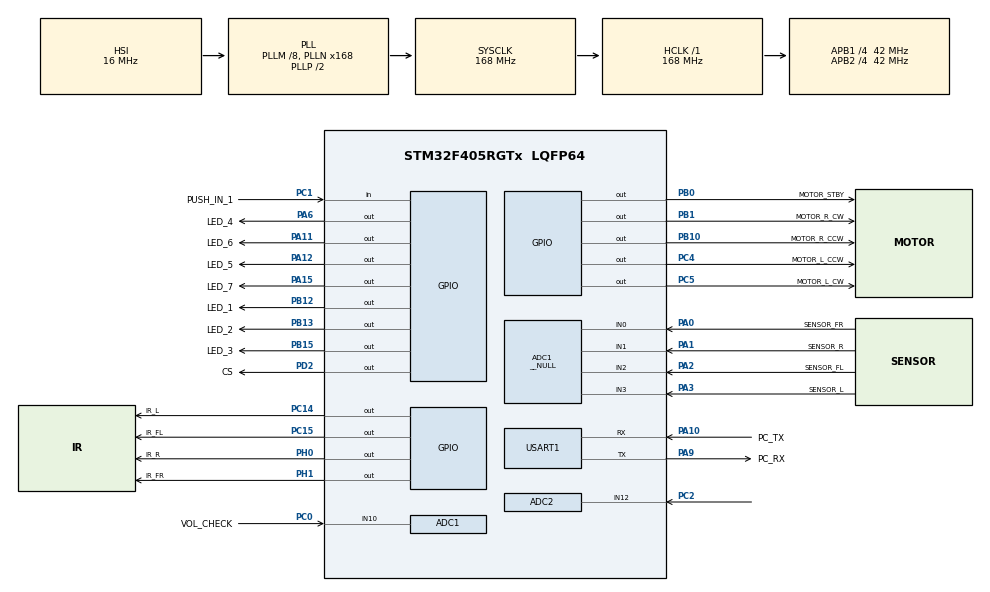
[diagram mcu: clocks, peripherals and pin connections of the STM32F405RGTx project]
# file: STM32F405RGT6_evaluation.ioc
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ADC1.Channel-0\#ChannelRegularConversion=ADC_CHANNEL_1
ADC1.Channel-5\#ChannelRegularConversion=ADC_CHANNEL_3
ADC1.Channel-6\#ChannelRegularConversion=ADC_CHANNEL_0
ADC1.Channel-7\#ChannelRegularConversion=ADC_CHANNEL_2
ADC1.Channel-8\#ChannelRegularConversion=ADC_CHANNEL_10
ADC1.ContinuousConvMode=DISABLE
ADC1.DiscontinuousConvMode=DISABLE
ADC1.EOCSelection=ADC_EOC_SINGLE_CONV
ADC1.EnableAnalogWatchDog=false
ADC1.ExternalTrigConv=ADC_SOFTWARE_START
ADC1.InjNumberOfConversion=0
ADC1.Mode=__NULL
ADC1.NbrOfConversion=5
ADC1.NbrOfConversionFlag=1
ADC1.Rank-0\#ChannelRegularConversion=1
ADC1.Rank-5\#ChannelRegularConversion=2
ADC1.Rank-6\#ChannelRegularConversion=3
ADC1.Rank-7\#ChannelRegularConversion=4
ADC1.Rank-8\#ChannelRegularConversion=5
ADC1.SamplingTime-0\#ChannelRegularConversion=ADC_SAMPLETIME_15CYCLES
ADC1.SamplingTime-5\#ChannelRegularConversion=ADC_SAMPLETIME_15CYCLES
ADC1.SamplingTime-6\#ChannelRegularConversion=ADC_SAMPLETIME_15CYCLES
ADC1.SamplingTime-7\#ChannelRegularConversion=ADC_SAMPLETIME_15CYCLES
ADC1.SamplingTime-8\#ChannelRegularConversion=ADC_SAMPLETIME_15CYCLES
ADC1.ScanConvMode=ENABLE
ADC1.master=1
ADC2.Channel-0\#ChannelRegularConversion=ADC_CHANNEL_12
ADC2.NbrOfConversionFlag=1
ADC2.Rank-0\#ChannelRegularConversion=1
ADC2.SamplingTime-0\#ChannelRegularConversion=ADC_SAMPLETIME_3CYCLES
Mcu.Family=STM32F4
Mcu.Name=STM32F405RGTx
Mcu.Package=LQFP64
NVIC.PriorityGroup=NVIC_PRIORITYGROUP_4
PA0-WKUP.GPIO_Label=SENSOR_FR
PA0-WKUP.Signal=ADCx_IN0
PA1.GPIO_Label=SENSOR_R
PA1.Signal=ADCx_IN1
PA10.GPIO_Label=PC_TX
PA10.Mode=Asynchronous
PA10.Signal=USART1_RX
PA11.GPIO_Label=LED_6
PA11.Signal=GPIO_Output
PA12.GPIO_Label=LED_5
PA12.Signal=GPIO_Output
PA13.GPIO_Label=SWDIO
PA13.Signal=SYS_JTMS-SWDIO
PA14.GPIO_Label=SWCL
PA14.Signal=SYS_JTCK-SWCLK
PA15.GPIO_Label=LED_7
PA15.Signal=GPIO_Output
PA2.GPIO_Label=SENSOR_FL
PA2.Signal=ADCx_IN2
PA3.GPIO_Label=SENSOR_L
PA3.Signal=ADCx_IN3
PA5.GPIO_Label=MOTOR_L_PWM
PA5.Signal=S_TIM2_CH1_ETR
PA6.GPIO_Label=LED_4
PA6.Signal=GPIO_Output
PA7.Signal=SPI1_MOSI
PA8.GPIO_Label=SCL
PA8.Signal=I2C3_SCL
PA9.GPIO_Label=PC_RX
PA9.Mode=Asynchronous
PA9.Signal=USART1_TX
PB0.GPIO_Label=MOTOR_STBY
PB0.Signal=GPIO_Output
PB1.GPIO_Label=MOTOR_R_CW
PB1.Signal=GPIO_Output
PB10.GPIO_Label=MOTOR_R_CCW
PB10.Signal=GPIO_Output
PB11.GPIO_Label=MOTOR_R_PWM
PB11.Signal=S_TIM2_CH4
PB12.GPIO_Label=LED_1
PB12.Signal=GPIO_Output
PB13.GPIO_Label=LED_2
PB13.Signal=GPIO_Output
PB15.GPIO_Label=LED_3
PB15.Signal=GPIO_Output
PB3.Signal=SPI1_SCK
PB4.GPIO_Label=FAN
PB4.Signal=S_TIM3_CH1
PB5.GPIO_Label=BUZZER
PB5.Signal=S_TIM3_CH2
PB6.GPIO_Label=EC_L_A
PB6.Signal=S_TIM4_CH1
PB7.GPIO_Label=EC_L_B
PB7.Signal=S_TIM4_CH2
PC0.GPIO_Label=VOL_CHECK
PC0.Signal=ADCx_IN10
PC1.GPIO_Label=PUSH_IN_1
PC1.Signal=GPIO_Input
PC10.GPIO_Label=SCK
PC10.Signal=SPI3_SCK
PC11.GPIO_Label=MISO
PC11.Signal=SPI3_MISO
PC12.GPIO_Label=MOSI
PC12.Signal=SPI3_MOSI
PC14-OSC32_IN.GPIO_Label=IR_L
PC14-OSC32_IN.Signal=GPIO_Output
PC15-OSC32_OUT.GPIO_Label=IR_FL
PC15-OSC32_OUT.Signal=GPIO_Output
PC2.Signal=ADCx_IN12
PC4.GPIO_Label=MOTOR_L_CCW
PC4.Signal=GPIO_Output
PC5.GPIO_Label=MOTOR_L_CW
PC5.Signal=GPIO_Output
PC6.GPIO_Label=TIM8_CH1
PC6.Signal=S_TIM8_CH1
PC7.GPIO_Label=EC_R_8
PC7.Signal=S_TIM8_CH2
PC9.GPIO_Label=SDA
PC9.Signal=I2C3_SDA
PD2.GPIO_Label=CS
PD2.Signal=GPIO_Output
PH0-OSC_IN.GPIO_Label=IR_R
PH0-OSC_IN.Signal=GPIO_Output
PH1-OSC_OUT.GPIO_Label=IR_FR
PH1-OSC_OUT.Signal=GPIO_Output
ProjectManager.HeapSize=0x200
ProjectManager.StackSize=0x400
ProjectManager.TargetToolchain=STM32CubeIDE
RCC.48MHZClocksFreq_Value=84000000
RCC.AHBFreq_Value=168000000
RCC.APB1CLKDivider=RCC_HCLK_DIV4
RCC.APB1Freq_Value=42000000
RCC.APB1TimFreq_Value=84000000
RCC.APB2CLKDivider=RCC_HCLK_DIV4
RCC.APB2Freq_Value=42000000
RCC.APB2TimFreq_Value=84000000
RCC.CortexFreq_Value=168000000
RCC.HCLKFreq_Value=168000000
RCC.HSE_VALUE=25000000
RCC.HSI_VALUE=16000000
RCC.LSE_VALUE=32768
RCC.PLLM=8
RCC.PLLN=168
RCC.SYSCLKFreq_VALUE=168000000
RCC.SYSCLKSource=RCC_SYSCLKSOURCE_PLLCLK
RCC.VCOOutputFreq_Value=336000000
SH.ADCx_IN0.0=ADC1_IN0,IN0
SH.ADCx_IN1.0=ADC1_IN1,IN1
SH.ADCx_IN10.0=ADC1_IN10,IN10
SH.ADCx_IN12.0=ADC2_IN12,IN12
SH.ADCx_IN2.0=ADC1_IN2,IN2
SH.ADCx_IN3.0=ADC1_IN3,IN3
SH.S_TIM2_CH1_ETR.0=TIM2_CH1
SH.S_TIM2_CH4.0=TIM2_CH4
SH.S_TIM3_CH1.0=TIM3_CH1
SH.S_TIM3_CH2.0=TIM3_CH2
SH.S_TIM4_CH1.0=TIM4_CH1
SH.S_TIM4_CH2.0=TIM4_CH2
SH.S_TIM8_CH1.0=TIM8_CH1
SH.S_TIM8_CH2.0=TIM8_CH2
USART1.VirtualMode=VM_ASYNC
board=custom

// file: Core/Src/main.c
/* USER CODE BEGIN Header */
/**
  ******************************************************************************
  * @file           : main.c
  * @brief          : Main program body
  ******************************************************************************
  * @attention
  *
  * Copyright (c) 2024 STMicroelectronics.
  * All rights reserved.
  *
  * This software is licensed under terms that can be found in the LICENSE file
  * in the root directory of this software component.
  * If no LICENSE file comes with this software, it is provided AS-IS.
  *
  ******************************************************************************
  */
/* USER CODE END Header */
#include "main.h"

/* USER CODE BEGIN Includes */
#include <stdio.h>

/* USER CODE END Includes */

ADC_HandleTypeDef hadc1;
ADC_HandleTypeDef hadc2;

UART_HandleTypeDef huart1;

/* USER CODE BEGIN PV */
#ifdef __GNUC__
#define PUTCHAR_PROTOTYPE int __io_putchar(int ch)
#else
#define PUTCHAR_PROTOTYPE int fputc(int ch, FILE *f)
#endif
/* USER CODE END PV */

void SystemClock_Config(void);
static void MX_GPIO_Init(void);
static void MX_ADC1_Init(void);
static void MX_ADC2_Init(void);
static void MX_USART1_UART_Init(void);
/* USER CODE BEGIN PFP */
void __io_putchar(int ch) { HAL_UART_Transmit(&huart1, &ch, 1, 1); }

int ReadAdcValue(ADC_HandleTypeDef *hadc){
	HAL_ADC_Start(hadc);//AD変換を開始する
	HAL_ADC_PollForConversion(hadc, 150);
	 return HAL_ADC_GetValue(hadc);
}
/* USER CODE END PFP */

int main(void)
{

  /* MCU Configuration--------------------------------------------------------*/

  /* Reset of all peripherals, Initializes the Flash interface and the Systick. */
  HAL_Init();

  /* Configure the system clock */
  SystemClock_Config();

  /* Initialize all configured peripherals */
  MX_GPIO_Init();
  MX_ADC1_Init();
  MX_ADC2_Init();
  MX_USART1_UART_Init();
  /* USER CODE BEGIN 2 */
int i = 0;
  /* USER CODE END 2 */

  /* Infinite loop */
  while (1)
  {

    /* USER CODE BEGIN 3 */
	  for (int i =0 ; i++ ; i < 1000){
	  uint32_t adc = 0;
	   adc = ReadAdcValue(&hadc1);
	   printf ("%u\n",adc);
	  }
	  break;

  }
  /* USER CODE END 3 */
}

void SystemClock_Config(void)
{
  RCC_OscInitTypeDef RCC_OscInitStruct = {0};
  RCC_ClkInitTypeDef RCC_ClkInitStruct = {0};

  /** Configure the main internal regulator output voltage
  */
  __HAL_RCC_PWR_CLK_ENABLE();
  __HAL_PWR_VOLTAGESCALING_CONFIG(PWR_REGULATOR_VOLTAGE_SCALE1);

  /** Initializes the RCC Oscillators according to the specified parameters
  * in the RCC_OscInitTypeDef structure.
  */
  RCC_OscInitStruct.OscillatorType = RCC_OSCILLATORTYPE_HSI;
  RCC_OscInitStruct.HSIState = RCC_HSI_ON;
  RCC_OscInitStruct.HSICalibrationValue = RCC_HSICALIBRATION_DEFAULT;
  RCC_OscInitStruct.PLL.PLLState = RCC_PLL_ON;
  RCC_OscInitStruct.PLL.PLLSource = RCC_PLLSOURCE_HSI;
  RCC_OscInitStruct.PLL.PLLM = 8;
  RCC_OscInitStruct.PLL.PLLN = 168;
  RCC_OscInitStruct.PLL.PLLP = RCC_PLLP_DIV2;
  RCC_OscInitStruct.PLL.PLLQ = 4;
  if (HAL_RCC_OscConfig(&RCC_OscInitStruct) != HAL_OK)
  {
    Error_Handler();
  }

  /** Initializes the CPU, AHB and APB buses clocks
  */
  RCC_ClkInitStruct.ClockType = RCC_CLOCKTYPE_HCLK|RCC_CLOCKTYPE_SYSCLK
                              |RCC_CLOCKTYPE_PCLK1|RCC_CLOCKTYPE_PCLK2;
  RCC_ClkInitStruct.SYSCLKSource = RCC_SYSCLKSOURCE_PLLCLK;
  RCC_ClkInitStruct.AHBCLKDivider = RCC_SYSCLK_DIV1;
  RCC_ClkInitStruct.APB1CLKDivider = RCC_HCLK_DIV4;
  RCC_ClkInitStruct.APB2CLKDivider = RCC_HCLK_DIV4;

  if (HAL_RCC_ClockConfig(&RCC_ClkInitStruct, FLASH_LATENCY_5) != HAL_OK)
  {
    Error_Handler();
  }
}

static void MX_ADC1_Init(void)
{

  ADC_ChannelConfTypeDef sConfig = {0};

  /** Configure the global features of the ADC (Clock, Resolution, Data Alignment and number of conversion)
  */
  hadc1.Instance = ADC1;
  hadc1.Init.ClockPrescaler = ADC_CLOCK_SYNC_PCLK_DIV2;
  hadc1.Init.Resolution = ADC_RESOLUTION_12B;
  hadc1.Init.ScanConvMode = ENABLE;
  hadc1.Init.ContinuousConvMode = DISABLE;
  hadc1.Init.DiscontinuousConvMode = DISABLE;
  hadc1.Init.ExternalTrigConvEdge = ADC_EXTERNALTRIGCONVEDGE_NONE;
  hadc1.Init.ExternalTrigConv = ADC_SOFTWARE_START;
  hadc1.Init.DataAlign = ADC_DATAALIGN_RIGHT;
  hadc1.Init.NbrOfConversion = 5;
  hadc1.Init.DMAContinuousRequests = DISABLE;
  hadc1.Init.EOCSelection = ADC_EOC_SINGLE_CONV;
  if (HAL_ADC_Init(&hadc1) != HAL_OK)
  {
    Error_Handler();
  }

  /** Configure for the selected ADC regular channel its corresponding rank in the sequencer and its sample time.
  */
  sConfig.Channel = ADC_CHANNEL_1;
  sConfig.Rank = 1;
  sConfig.SamplingTime = ADC_SAMPLETIME_15CYCLES;
  if (HAL_ADC_ConfigChannel(&hadc1, &sConfig) != HAL_OK)
  {
    Error_Handler();
  }

  /** Configure for the selected ADC regular channel its corresponding rank in the sequencer and its sample time.
  */
  sConfig.Channel = ADC_CHANNEL_3;
  sConfig.Rank = 2;
  if (HAL_ADC_ConfigChannel(&hadc1, &sConfig) != HAL_OK)
  {
    Error_Handler();
  }

  /** Configure for the selected ADC regular channel its corresponding rank in the sequencer and its sample time.
  */
  sConfig.Channel = ADC_CHANNEL_0;
  sConfig.Rank = 3;
  if (HAL_ADC_ConfigChannel(&hadc1, &sConfig) != HAL_OK)
  {
    Error_Handler();
  }

  /** Configure for the selected ADC regular channel its corresponding rank in the sequencer and its sample time.
  */
  sConfig.Channel = ADC_CHANNEL_2;
  sConfig.Rank = 4;
  if (HAL_ADC_ConfigChannel(&hadc1, &sConfig) != HAL_OK)
  {
    Error_Handler();
  }

  /** Configure for the selected ADC regular channel its corresponding rank in the sequencer and its sample time.
  */
  sConfig.Channel = ADC_CHANNEL_10;
  sConfig.Rank = 5;
  if (HAL_ADC_ConfigChannel(&hadc1, &sConfig) != HAL_OK)
  {
    Error_Handler();
  }

}

static void MX_ADC2_Init(void)
{

  ADC_ChannelConfTypeDef sConfig = {0};

  /** Configure the global features of the ADC (Clock, Resolution, Data Alignment and number of conversion)
  */
  hadc2.Instance = ADC2;
  hadc2.Init.ClockPrescaler = ADC_CLOCK_SYNC_PCLK_DIV2;
  hadc2.Init.Resolution = ADC_RESOLUTION_12B;
  hadc2.Init.ScanConvMode = DISABLE;
  hadc2.Init.ContinuousConvMode = DISABLE;
  hadc2.Init.DiscontinuousConvMode = DISABLE;
  hadc2.Init.ExternalTrigConvEdge = ADC_EXTERNALTRIGCONVEDGE_NONE;
  hadc2.Init.ExternalTrigConv = ADC_SOFTWARE_START;
  hadc2.Init.DataAlign = ADC_DATAALIGN_RIGHT;
  hadc2.Init.NbrOfConversion = 1;
  hadc2.Init.DMAContinuousRequests = DISABLE;
  hadc2.Init.EOCSelection = ADC_EOC_SINGLE_CONV;
  if (HAL_ADC_Init(&hadc2) != HAL_OK)
  {
    Error_Handler();
  }

  /** Configure for the selected ADC regular channel its corresponding rank in the sequencer and its sample time.
  */
  sConfig.Channel = ADC_CHANNEL_12;
  sConfig.Rank = 1;
  sConfig.SamplingTime = ADC_SAMPLETIME_3CYCLES;
  if (HAL_ADC_ConfigChannel(&hadc2, &sConfig) != HAL_OK)
  {
    Error_Handler();
  }

}

static void MX_USART1_UART_Init(void)
{

  huart1.Instance = USART1;
  huart1.Init.BaudRate = 115200;
  huart1.Init.WordLength = UART_WORDLENGTH_8B;
  huart1.Init.StopBits = UART_STOPBITS_1;
  huart1.Init.Parity = UART_PARITY_NONE;
  huart1.Init.Mode = UART_MODE_TX_RX;
  huart1.Init.HwFlowCtl = UART_HWCONTROL_NONE;
  huart1.Init.OverSampling = UART_OVERSAMPLING_16;
  if (HAL_UART_Init(&huart1) != HAL_OK)
  {
    Error_Handler();
  }

}

static void MX_GPIO_Init(void)
{
  GPIO_InitTypeDef GPIO_InitStruct = {0};

  /* GPIO Ports Clock Enable */
  __HAL_RCC_GPIOC_CLK_ENABLE();
  __HAL_RCC_GPIOH_CLK_ENABLE();
  __HAL_RCC_GPIOA_CLK_ENABLE();
  __HAL_RCC_GPIOB_CLK_ENABLE();
  __HAL_RCC_GPIOD_CLK_ENABLE();

  /*Configure GPIO pin Output Level */
  HAL_GPIO_WritePin(GPIOC, IR_L_Pin|IR_FL_Pin|MOTOR_L_CCW_Pin|MOTOR_L_CW_Pin, GPIO_PIN_RESET);

  /*Configure GPIO pin Output Level */
  HAL_GPIO_WritePin(GPIOH, IR_R_Pin|IR_FR_Pin, GPIO_PIN_RESET);

  /*Configure GPIO pin Output Level */
  HAL_GPIO_WritePin(GPIOA, LED_4_Pin|LED_6_Pin|LED_5_Pin|LED_7_Pin, GPIO_PIN_RESET);

  /*Configure GPIO pin Output Level */
  HAL_GPIO_WritePin(GPIOB, MOTOR_STBY_Pin|MOTOR_R_CW_Pin|MOTOR_R_CCW_Pin|LED_1_Pin
                          |LED_2_Pin|LED_3_Pin, GPIO_PIN_RESET);

  /*Configure GPIO pin Output Level */
  HAL_GPIO_WritePin(CS_GPIO_Port, CS_Pin, GPIO_PIN_RESET);

  /*Configure GPIO pins : IR_L_Pin IR_FL_Pin MOTOR_L_CCW_Pin MOTOR_L_CW_Pin */
  GPIO_InitStruct.Pin = IR_L_Pin|IR_FL_Pin|MOTOR_L_CCW_Pin|MOTOR_L_CW_Pin;
  GPIO_InitStruct.Mode = GPIO_MODE_OUTPUT_PP;
  GPIO_InitStruct.Pull = GPIO_NOPULL;
  GPIO_InitStruct.Speed = GPIO_SPEED_FREQ_LOW;
  HAL_GPIO_Init(GPIOC, &GPIO_InitStruct);

  /*Configure GPIO pins : IR_R_Pin IR_FR_Pin */
  GPIO_InitStruct.Pin = IR_R_Pin|IR_FR_Pin;
  GPIO_InitStruct.Mode = GPIO_MODE_OUTPUT_PP;
  GPIO_InitStruct.Pull = GPIO_NOPULL;
  GPIO_InitStruct.Speed = GPIO_SPEED_FREQ_LOW;
  HAL_GPIO_Init(GPIOH, &GPIO_InitStruct);

  /*Configure GPIO pin : PUSH_IN_1_Pin */
  GPIO_InitStruct.Pin = PUSH_IN_1_Pin;
  GPIO_InitStruct.Mode = GPIO_MODE_INPUT;
  GPIO_InitStruct.Pull = GPIO_NOPULL;
  HAL_GPIO_Init(PUSH_IN_1_GPIO_Port, &GPIO_InitStruct);

  /*Configure GPIO pin : MOTOR_L_PWM_Pin */
  GPIO_InitStruct.Pin = MOTOR_L_PWM_Pin;
  GPIO_InitStruct.Mode = GPIO_MODE_AF_PP;
  GPIO_InitStruct.Pull = GPIO_NOPULL;
  GPIO_InitStruct.Speed = GPIO_SPEED_FREQ_LOW;
  GPIO_InitStruct.Alternate = GPIO_AF1_TIM2;
  HAL_GPIO_Init(MOTOR_L_PWM_GPIO_Port, &GPIO_InitStruct);

  /*Configure GPIO pins : LED_4_Pin LED_6_Pin LED_5_Pin LED_7_Pin */
  GPIO_InitStruct.Pin = LED_4_Pin|LED_6_Pin|LED_5_Pin|LED_7_Pin;
  GPIO_InitStruct.Mode = GPIO_MODE_OUTPUT_PP;
  GPIO_InitStruct.Pull = GPIO_NOPULL;
  GPIO_InitStruct.Speed = GPIO_SPEED_FREQ_LOW;
  HAL_GPIO_Init(GPIOA, &GPIO_InitStruct);

  /*Configure GPIO pin : PA7 */
  GPIO_InitStruct.Pin = GPIO_PIN_7;
  GPIO_InitStruct.Mode = GPIO_MODE_AF_PP;
  GPIO_InitStruct.Pull = GPIO_NOPULL;
  GPIO_InitStruct.Speed = GPIO_SPEED_FREQ_VERY_HIGH;
  GPIO_InitStruct.Alternate = GPIO_AF5_SPI1;
  HAL_GPIO_Init(GPIOA, &GPIO_InitStruct);

  /*Configure GPIO pins : MOTOR_STBY_Pin MOTOR_R_CW_Pin MOTOR_R_CCW_Pin LED_1_Pin
                           LED_2_Pin LED_3_Pin */
  GPIO_InitStruct.Pin = MOTOR_STBY_Pin|MOTOR_R_CW_Pin|MOTOR_R_CCW_Pin|LED_1_Pin
                          |LED_2_Pin|LED_3_Pin;
  GPIO_InitStruct.Mode = GPIO_MODE_OUTPUT_PP;
  GPIO_InitStruct.Pull = GPIO_NOPULL;
  GPIO_InitStruct.Speed = GPIO_SPEED_FREQ_LOW;
  HAL_GPIO_Init(GPIOB, &GPIO_InitStruct);

  /*Configure GPIO pin : MOTOR_R_PWM_Pin */
  GPIO_InitStruct.Pin = MOTOR_R_PWM_Pin;
  GPIO_InitStruct.Mode = GPIO_MODE_AF_PP;
  GPIO_InitStruct.Pull = GPIO_NOPULL;
  GPIO_InitStruct.Speed = GPIO_SPEED_FREQ_LOW;
  GPIO_InitStruct.Alternate = GPIO_AF1_TIM2;
  HAL_GPIO_Init(MOTOR_R_PWM_GPIO_Port, &GPIO_InitStruct);

  /*Configure GPIO pins : TIM8_CH1_Pin EC_R_8_Pin */
  GPIO_InitStruct.Pin = TIM8_CH1_Pin|EC_R_8_Pin;
  GPIO_InitStruct.Mode = GPIO_MODE_AF_PP;
  GPIO_InitStruct.Pull = GPIO_NOPULL;
  GPIO_InitStruct.Speed = GPIO_SPEED_FREQ_LOW;
  GPIO_InitStruct.Alternate = GPIO_AF3_TIM8;
  HAL_GPIO_Init(GPIOC, &GPIO_InitStruct);

  /*Configure GPIO pin : SDA_Pin */
  GPIO_InitStruct.Pin = SDA_Pin;
  GPIO_InitStruct.Mode = GPIO_MODE_AF_OD;
  GPIO_InitStruct.Pull = GPIO_NOPULL;
  GPIO_InitStruct.Speed = GPIO_SPEED_FREQ_VERY_HIGH;
  GPIO_InitStruct.Alternate = GPIO_AF4_I2C3;
  HAL_GPIO_Init(SDA_GPIO_Port, &GPIO_InitStruct);

  /*Configure GPIO pin : SCL_Pin */
  GPIO_InitStruct.Pin = SCL_Pin;
  GPIO_InitStruct.Mode = GPIO_MODE_AF_OD;
  GPIO_InitStruct.Pull = GPIO_NOPULL;
  GPIO_InitStruct.Speed = GPIO_SPEED_FREQ_VERY_HIGH;
  GPIO_InitStruct.Alternate = GPIO_AF4_I2C3;
  HAL_GPIO_Init(SCL_GPIO_Port, &GPIO_InitStruct);

  /*Configure GPIO pins : SCK_Pin MISO_Pin MOSI_Pin */
  GPIO_InitStruct.Pin = SCK_Pin|MISO_Pin|MOSI_Pin;
  GPIO_InitStruct.Mode = GPIO_MODE_AF_PP;
  GPIO_InitStruct.Pull = GPIO_NOPULL;
  GPIO_InitStruct.Speed = GPIO_SPEED_FREQ_VERY_HIGH;
  GPIO_InitStruct.Alternate = GPIO_AF6_SPI3;
  HAL_GPIO_Init(GPIOC, &GPIO_InitStruct);

  /*Configure GPIO pin : CS_Pin */
  GPIO_InitStruct.Pin = CS_Pin;
  GPIO_InitStruct.Mode = GPIO_MODE_OUTPUT_PP;
  GPIO_InitStruct.Pull = GPIO_NOPULL;
  GPIO_InitStruct.Speed = GPIO_SPEED_FREQ_LOW;
  HAL_GPIO_Init(CS_GPIO_Port, &GPIO_InitStruct);

  /*Configure GPIO pin : PB3 */
  GPIO_InitStruct.Pin = GPIO_PIN_3;
  GPIO_InitStruct.Mode = GPIO_MODE_AF_PP;
  GPIO_InitStruct.Pull = GPIO_NOPULL;
  GPIO_InitStruct.Speed = GPIO_SPEED_FREQ_VERY_HIGH;
  GPIO_InitStruct.Alternate = GPIO_AF5_SPI1;
  HAL_GPIO_Init(GPIOB, &GPIO_InitStruct);

  /*Configure GPIO pins : FAN_Pin BUZZER_Pin */
  GPIO_InitStruct.Pin = FAN_Pin|BUZZER_Pin;
  GPIO_InitStruct.Mode = GPIO_MODE_AF_PP;
  GPIO_InitStruct.Pull = GPIO_NOPULL;
  GPIO_InitStruct.Speed = GPIO_SPEED_FREQ_LOW;
  GPIO_InitStruct.Alternate = GPIO_AF2_TIM3;
  HAL_GPIO_Init(GPIOB, &GPIO_InitStruct);

  /*Configure GPIO pins : EC_L_A_Pin EC_L_B_Pin */
  GPIO_InitStruct.Pin = EC_L_A_Pin|EC_L_B_Pin;
  GPIO_InitStruct.Mode = GPIO_MODE_AF_PP;
  GPIO_InitStruct.Pull = GPIO_NOPULL;
  GPIO_InitStruct.Speed = GPIO_SPEED_FREQ_LOW;
  GPIO_InitStruct.Alternate = GPIO_AF2_TIM4;
  HAL_GPIO_Init(GPIOB, &GPIO_InitStruct);

}

void Error_Handler(void)
{
  __disable_irq();
  while (1)
  {
  }
}
